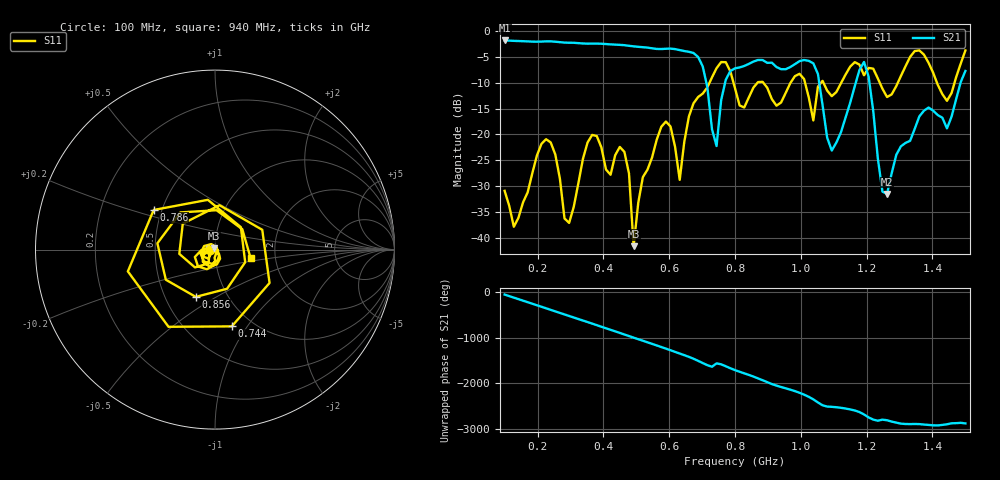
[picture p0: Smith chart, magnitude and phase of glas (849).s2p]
! NanoVNA-App
! Date: 2025-09-25 16:02:05
! Start: 100MHz Stop: 1,5GHz Points: 101
! S-Parameter data: F S11 S21 S12 S22
# Hz S RI R 50
!  Frequency  S11_Real  S11_Imag  S21_Real  S21_Imag  S12_Real  S12_Imag  S22_Real  S22_Imag
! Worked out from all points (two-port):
!   101 points, 100 MHz to 1.5 GHz, reference 50 ohm
!   highest |S21| = -1.80 dB at 100 MHz (marker M1); lowest = -31.5 dB at 1.262 GHz (marker M2)
!   |S21| within 3 dB of the highest: start of sweep to 684.4 MHz
!   lowest |S11| = -41.6 dB at 492 MHz (marker M3), VSWR 1.02, Z = 49.5 + j0.64 ohm
!   |S11| at or under -10 dB: start of sweep to 722.5 MHz; 795.5 MHz to 868.2 MHz (72.72 MHz wide, 8.74 % of centre); 886.2 MHz to 968.7 MHz (82.47 MHz wide, 8.89 % of centre) (the widest 3 of 7)
!   S12 and S22 are empty: the file has one direction only
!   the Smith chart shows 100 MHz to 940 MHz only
!   S11 on the Smith chart (normalised r, x): 100 MHz: 0.94, -0.01; 744 MHz: 0.80, -0.85; 786 MHz: 0.45, +0.24; 856 MHz: 0.71, -0.41; 940 MHz: 1.49, -0.15
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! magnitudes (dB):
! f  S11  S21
! 100 MHz  -30.9  -1.8
! 128 MHz  -37.9  -1.9
! 226 MHz  -20.9  -2.0
! 296 MHz  -37.1  -2.2
! 338 MHz  -24.7  -2.4
! 464 MHz  -23.4  -2.7
! 492 MHz  -41.6  -2.9
! 576 MHz  -18.5  -3.5
! 632 MHz  -28.8  -3.7
! 702 MHz  -12.1  -6.8
! 744 MHz  -7.2  -22.3
! 786 MHz  -7.8  -7.7
! 800 MHz  -11.1  -7.2
! 856 MHz  -10.9  -5.9
! 940 MHz  -13.8  -7.4
! 1.038 GHz  -17.3  -6.2
! 1.094 GHz  -12.6  -23.1
! 1.192 GHz  -8.5  -6.0
! 1.262 GHz  -12.8  -31.5
! 1.276 GHz  -12.2  -27.5
! 1.444 GHz  -13.5  -18.8
! 1.5 GHz  -3.7  -7.7
